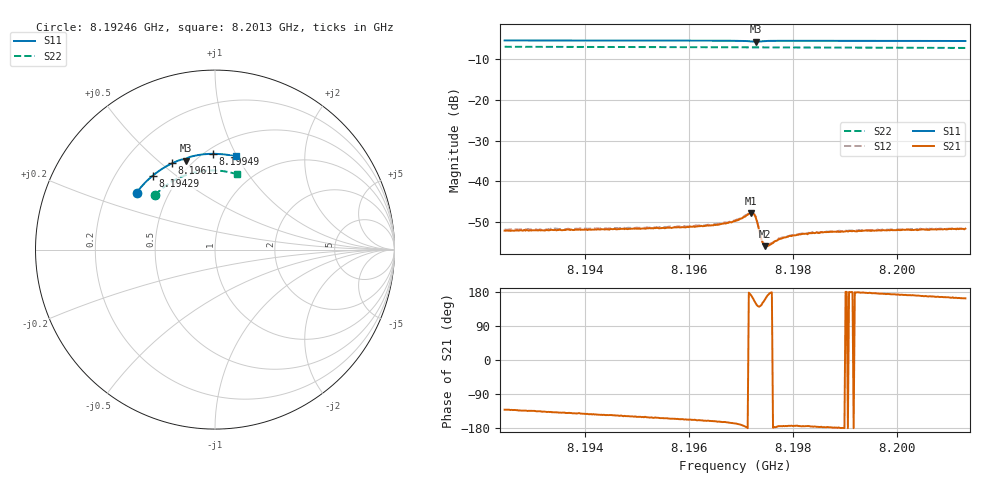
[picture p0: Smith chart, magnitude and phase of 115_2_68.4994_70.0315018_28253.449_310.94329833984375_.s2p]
#  HZ  S  RI  R  50.00
! Rohde & Schwarz Vector Network Analyzer
! Rohde-Schwarz,ZNB20-2Port,1311601062101988,3.16
! Created: UTC 3/20/2024, 4:53:44 PM
! freq[Hz]  re:S11  im:S11  re:S21  im:S21  re:S12  im:S12  re:S22  im:S22
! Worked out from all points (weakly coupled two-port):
!   401 points, 8.19246 GHz to 8.2013 GHz, reference 50 ohm
!   highest |S21| = -47.74 dB at 8.19719 GHz (marker M1); lowest = -55.9 dB at 8.19746 GHz (marker M2)
!   lowest |S11| = -5.7 dB at 8.19728 GHz (marker M3), VSWR 3.17, Z = 22.9 + j31.1 ohm
!   |S11| at or under -10 dB: nowhere
!   |S22| runs from -7.2 to -6.9 dB; largest |S21 - S12| = 0.00019
!   S11 on the Smith chart (normalised r, x): 8.19246 GHz: 0.33, +0.29; 8.19429 GHz: 0.36, +0.41; 8.19611 GHz: 0.40, +0.54; 8.19949 GHz: 0.55, +0.82; 8.2013 GHz: 0.68, +0.99
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8.192459e9  -0.4364 0.3175  -0.00164 -0.00188  -0.00173 -0.00189  -0.3342 0.3035
8.19394e9  -0.3665 0.3949  -0.002 -0.0016  -0.0021 -0.00155  -0.2721 0.3576
8.194294e9  -0.3478 0.4113  -0.00209 -0.00148  -0.0022 -0.00145  -0.2558 0.3687
8.195422e9  -0.2826 0.4573  -0.00236 -0.00121  -0.00248 -0.00116  -0.2011 0.3995
8.196107e9  -0.2397 0.4806  -0.00256 -0.00105  -0.00269 -0.00094  -0.1655 0.4143
8.196594e9  -0.2073 0.4946  -0.00285 -0.000876  -0.00294 -0.00079  -0.1397 0.4229
8.196881e9  -0.1865 0.5014  -0.00319 -0.000706  -0.00329 -0.000567  -0.1242 0.4272
8.197191e9  -0.1606 0.5008  -0.00405 0.000666  -0.00409 0.000855  -0.1071 0.4311
8.197235e9  -0.159 0.4978  -0.00379 0.00133  -0.0038 0.00152  -0.1046 0.4314
8.197279e9  -0.1603 0.4954  -0.00312 0.00183  -0.00311 0.00203  -0.1024 0.4317
8.19739e9  -0.1622 0.5022  -0.00161 0.00111  -0.00157 0.00116  -0.0964 0.4333
8.197412e9  -0.1613 0.504  -0.00155 0.000857  -0.00151 0.000952  -0.0951 0.4334
8.197456e9  -0.1583 0.507  -0.00151 0.000555  -0.00152 0.000608  -0.0929 0.4339
8.197523e9  -0.1534 0.5106  -0.00161 0.00021  -0.00166 0.000243  -0.089 0.4347
8.1977e9  -0.1398 0.5161  -0.0019 -0.000149  -0.00193 -5.56e-05  -0.0792 0.4364
8.197832e9  -0.1302 0.5189  -0.00205 -0.000191  -0.00208 -0.000125  -0.0718 0.4375
8.198142e9  -0.1077 0.5242  -0.00223 -0.000208  -0.00228 -0.000143  -0.0544 0.4393
8.198363e9  -0.0919 0.527  -0.00231 -0.000183  -0.00239 -9.89e-05  -0.042 0.4403
8.198761e9  -0.0636 0.531  -0.00242 -5.81e-05  -0.00245 3.22e-05  -0.0194 0.4411
8.199491e9  -0.0118 0.5338  -0.00247 0.000141  -0.00253 0.000252  0.0219 0.4397
8.199845e9  0.0132 0.5333  -0.0025 0.000262  -0.00252 0.000379  0.0418 0.4376
8.201304e9  0.1153 0.5191  -0.00251 0.000783  -0.0025 0.0009  0.1226 0.4193
